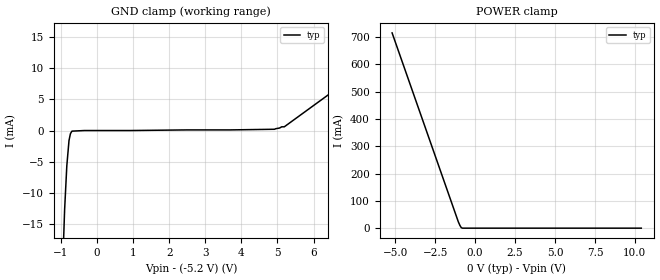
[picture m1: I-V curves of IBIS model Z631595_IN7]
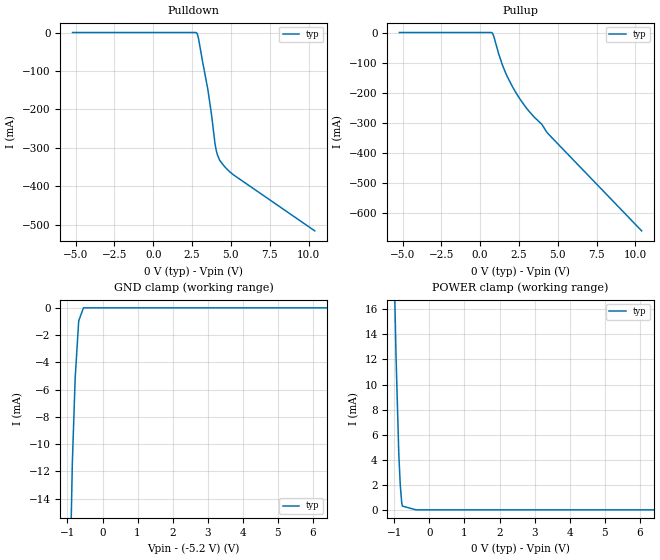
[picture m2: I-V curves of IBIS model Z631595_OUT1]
| YOU ARE ONLY AUTHORIZED TO USE THIS SOFTWARE
| ACCORDING TO LICENSOR'S LICENSE RESTRICTIONS.
[IBIS Ver] 3.1
[File Name] mc10ep89d_-52.ibs
[File Rev] 2.0
[Source] Measured and created by ICX Technology
[Date] Wednesday 11/22/00 2:13:51 PM
[Copyright]
| (C) COPYRIGHT 1993-2000
| MENTOR GRAPHICS CORPORATION
| ICX STANDARD LIBRARY, ICX PROJECT MODELING,
| ICX CUSTOM MODELING, ICX VENDOR MODEL
| ALL RIGHTS RESERVED.
| THE FOLLOWING ARE TRADEMARKS OR SERVICE MARKS OF
| MENTOR GRAPHICS CORPORATION:ICX (R), ICX STANDARD
| LIBRARY(R), ICX PROJECT MODELING(R), ICX CUSTOM
| MODELING(R), qualityIBIS(TM), MODELVIEWER(TM),
| AND MODELEDITOR(TM)
| ALL COPIES OF SOFTWARE, INCLUDING BUT NOT LIMITED TO
| ANY MODIFICATIONS, ENHANCEMENTS OR DERIVATIVE WORKS,
| MUST CONTAIN ALL MENTOR GRAPHICS CORPORATION'S
| NOTICES AND LEGENDS, INCLUDING THOSE EMBEDDED IN
| SOFTWARE AND THOSE AFFIXED TO SOFTWARE MEDIUM
| AND CONTAINER, AS RECEIVED FROM MENTOR GRAPHICS
| CORPORATION.
|  ZAP Model Builder 2.8
[Component] MC10EP89D_-52
[Manufacturer] OnSemiconductor
[Package]
| variable   typ   min   max
R_pkg  .152ohms NA NA
L_pkg  2.714nH NA NA
C_pkg  .364pF NA NA
[Pin] signal_name  model_name  R_pin  L_pin C_pin
1 Q0 Z631595_OUT1 .154 2.924n .374p
2 _Q0 Z631595_OUT1 .15 2.504n .354p
3 Q1 Z631595_OUT1 .15 2.504n .354p
4 _Q1 Z631595_OUT1 .154 2.924n .374p
5 VEE POWER .154 2.924n .374p
6 _D Z631595_IN7 .15 2.504n .354p
7 D Z631595_IN7 .15 2.504n .354p
8 VCC POWER .154 2.924n .374p
[Diff Pin] inv_pin vdiff tdelay_typ tdelay_min tdelay_max
1 2 NA .005ns NA .02ns
3 4 NA .005ns NA .02ns
7 6 800mv NA NA NA
| Models and submodels in the file (2): Z631595_IN7 (Input_ECL), Z631595_OUT1 (Output_ECL)
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| (C) COPYRIGHT 1993-2000
| MENTOR GRAPHICS CORPORATION
| ICX STANDARD LIBRARY, ICX PROJECT MODELING,
| ICX CUSTOM MODELING, ICX VENDOR MODEL
| ALL RIGHTS RESERVED.
| THE FOLLOWING ARE TRADEMARKS OR SERVICE MARKS OF
| MENTOR GRAPHICS CORPORATION:ICX (R), ICX STANDARD
| LIBRARY(R), ICX PROJECT MODELING(R), ICX CUSTOM
| MODELING(R), qualityIBIS(TM), MODELVIEWER(TM),
| AND MODELEDITOR(TM)
| ALL COPIES OF SOFTWARE, INCLUDING BUT NOT LIMITED TO
| ANY MODIFICATIONS, ENHANCEMENTS OR DERIVATIVE WORKS,
| MUST CONTAIN ALL MENTOR GRAPHICS CORPORATION'S
| NOTICES AND LEGENDS, INCLUDING THOSE EMBEDDED IN
| SOFTWARE AND THOSE AFFIXED TO SOFTWARE MEDIUM
| AND CONTAINER, AS RECEIVED FROM MENTOR GRAPHICS
| CORPORATION.
| Model Application Version 1.89 2/18/99.
[Model] Z631595_IN7
Model_type Input_ECL
Vinl = -1.480V
Vinh = -1.130V
C_comp 3.000pF NA NA
| variable typ   min   max
[Voltage Range] -5.200V NA NA
[GND Clamp Reference] -5.200V NA NA
[POWER Clamp Reference] 0.000V NA NA
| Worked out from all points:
|   GND clamp passes 1 mA (typ) near -0.76 V on its own axis
|   POWER clamp passes 1 mA (typ) near -0.83 V on its own axis
[GND Clamp]
-5.2V     -744.9mA   NA         NA
-901mV    -12.8mA    NA         NA
-840mV    -5.7mA     NA         NA
-779mV    -1.6mA     NA         NA
-739mV    -500uA     NA         NA
-698mV    -100uA     NA         NA
4.916V    200uA      NA         NA
5.058V    400uA      NA         NA
5.119V    600uA      NA         NA
5.19V     600uA      NA         NA
10.4V     22.61mA    NA         NA
[POWER Clamp]
-5.2V     715.2mA    NA         NA
-1.054V   23.2mA     NA         NA
-953mV    9.831mA    NA         NA
-872mV    2.173mA    NA         NA
-799.3mV  0A         NA         NA
10.4V     0A         NA         NA
| (C) COPYRIGHT 1993-2000
| MENTOR GRAPHICS CORPORATION
| ICX STANDARD LIBRARY, ICX PROJECT MODELING,
| ICX CUSTOM MODELING, ICX VENDOR MODEL
| ALL RIGHTS RESERVED.
| THE FOLLOWING ARE TRADEMARKS OR SERVICE MARKS OF
| MENTOR GRAPHICS CORPORATION:ICX (R), ICX STANDARD
| LIBRARY(R), ICX PROJECT MODELING(R), ICX CUSTOM
| MODELING(R), qualityIBIS(TM), MODELVIEWER(TM),
| AND MODELEDITOR(TM)
| ALL COPIES OF SOFTWARE, INCLUDING BUT NOT LIMITED TO
| ANY MODIFICATIONS, ENHANCEMENTS OR DERIVATIVE WORKS,
| MUST CONTAIN ALL MENTOR GRAPHICS CORPORATION'S
| NOTICES AND LEGENDS, INCLUDING THOSE EMBEDDED IN
| SOFTWARE AND THOSE AFFIXED TO SOFTWARE MEDIUM
| AND CONTAINER, AS RECEIVED FROM MENTOR GRAPHICS
| CORPORATION.
| Model Application Version 1.89 2/18/99.
[Model] Z631595_OUT1
Model_type Output_ECL
Vref=-3.000V
Rref=50.00ohms
Cref=0.000F
Vmeas=-1.900V
C_comp 8.000pF NA NA
| variable typ   min   max
[Voltage Range] -5.200V NA NA
[POWER Clamp Reference] 0.000V NA NA
[Pullup Reference] 0.000V NA NA
[Pulldown Reference] 0.000V NA NA
[GND Clamp Reference] -5.200V NA NA
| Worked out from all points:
|   GND clamp passes 1 mA (typ) near -0.68 V on its own axis
|   POWER clamp passes 1 mA (typ) near -0.80 V on its own axis
[GND Clamp]
-5.2V     -572.2mA   NA         NA
-861mV    -11.4mA    NA         NA
-780mV    -5.152mA   NA         NA
-679mV    -960.1uA   NA         NA
-543.2mV  0A         NA         NA
10.4V     0A         NA         NA
[Pulldown]
-5.2V     0A         NA         NA
2.797V    -1.3mA     NA         NA
2.919V    -17.1mA    NA         NA
3.507V    -146.4mA   NA         NA
3.75V     -213mA     NA         NA
3.973V    -288.5mA   NA         NA
4.054V    -306.4mA   NA         NA
4.135V    -318.4mA   NA         NA
4.277V    -332.1mA   NA         NA
4.763V    -355.7mA   NA         NA
5.169V    -370mA     NA         NA
10.4V     -515.4mA   NA         NA
[Pullup]
-5.2V     0A         NA         NA
791mV     -2.2mA     NA         NA
872mV     -11.5mA    NA         NA
1.196V    -71.6mA    NA         NA
1.459V    -111.6mA   NA         NA
1.723V    -144.1mA   NA         NA
2.29V     -198.7mA   NA         NA
2.919V    -246.8mA   NA         NA
3.466V    -280.1mA   NA         NA
3.973V    -304.9mA   NA         NA
4.378V    -336.2mA   NA         NA
10.4V     -658.5mA   NA         NA
[POWER Clamp]
-5.2V     711.9mA    NA         NA
-1.054V   25.8mA     NA         NA
-953mV    12.4mA     NA         NA
-872mV    4.4mA      NA         NA
-831mV    2mA        NA         NA
-791mV    600uA      NA         NA
-770mV    300uA      NA         NA
-385mV    0A         NA         NA
10.4V     0A         NA         NA
[Ramp]
| variable typ min max
dV/dt_r 644.5m/134.1p NA NA
dV/dt_f 644.5m/126.4p NA NA
R_load = 50.00Ohms
